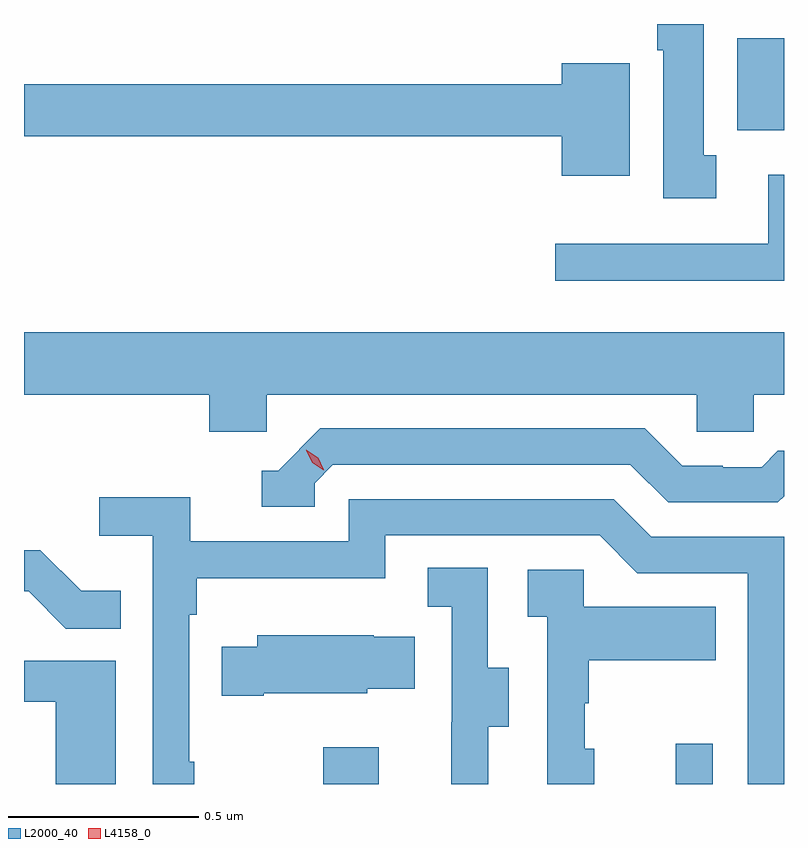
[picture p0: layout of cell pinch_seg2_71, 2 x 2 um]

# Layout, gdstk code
import gdstk
lib = gdstk.Library(unit=1e-6, precision=1e-09)
def R(c, l, rs):  # rectangles x0, y0, x1, y1
    for r in rs: c.add(gdstk.rectangle(r[:2], r[2:], *l))
def P(c, l, *ps):  # polygons
    for p in ps: c.add(gdstk.Polygon(p, *l))
L2000_40 = (2000, 40)
L4158_0 = (4158, 0)

pinch_seg2_71 = lib.new_cell('pinch_seg2_71')
R(pinch_seg2_71, L2000_40, [(1032.736,649.275,1032.883,649.372), (1033.664,649.275,1033.761,649.381), (1033.826,650.996,1033.949,651.238)])
P(pinch_seg2_71, L2000_40, [(1033.771,650.93),(1033.738,650.93),(1033.738,651.275),(1033.616,651.275),(1033.616,651.206),(1033.631,651.206),(1033.631,650.817),(1033.771,650.817)],
  [(1033.543,651.172),(1033.364,651.172),(1033.364,651.116),(1031.949,651.116),(1031.949,650.98),(1033.364,650.98),(1033.364,650.876),(1033.543,650.876)],
  [(1033.949,650.878),(1033.907,650.878),(1033.907,650.697),(1033.347,650.697),(1033.347,650.6),(1033.949,650.6)],
  [(1031.949,650.3),(1032.437,650.3),(1032.437,650.202),(1032.588,650.202),(1032.588,650.3),(1033.719,650.3),(1033.719,650.202),(1033.869,650.202),(1033.869,650.3),(1033.949,650.3),(1033.949,650.464),(1031.949,650.464)],
  [(1032.714,650.067),(1032.762,650.115),(1033.545,650.115),(1033.644,650.016),(1033.933,650.016),(1033.949,650.032),(1033.949,650.152),(1033.933,650.152),(1033.891,650.109),(1033.788,650.109),(1033.788,650.112),(1033.681,650.112),(1033.582,650.211),(1032.729,650.211),(1032.618,650.1),(1032.575,650.1),(1032.575,650.004),(1032.714,650.004)],
  [(1032.397,649.333),(1032.384,649.333),(1032.384,649.721),(1032.404,649.721),(1032.404,649.817),(1032.9,649.817),(1032.9,649.929),(1033.464,649.929),(1033.563,649.83),(1033.854,649.83),(1033.854,649.275),(1033.949,649.275),(1033.949,649.926),(1033.6,649.926),(1033.501,650.025),(1032.804,650.025),(1032.804,649.914),(1032.386,649.914),(1032.386,650.03),(1032.147,650.03),(1032.147,649.928),(1032.288,649.928),(1032.288,649.275),(1032.397,649.275)],
  [(1032.203,649.783),(1032.099,649.783),(1031.992,649.89),(1031.949,649.89),(1031.949,649.782),(1031.961,649.782),(1032.059,649.684),(1032.203,649.684)],
  [(1033.171,649.426),(1033.225,649.426),(1033.225,649.581),(1033.17,649.581),(1033.17,649.844),(1033.011,649.844),(1033.011,649.741),(1033.074,649.741),(1033.074,649.437),(1033.073,649.437),(1033.073,649.275),(1033.171,649.275)],
  [(1033.45,649.368),(1033.425,649.368),(1033.425,649.487),(1033.435,649.487),(1033.435,649.601),(1033.769,649.601),(1033.769,649.741),(1033.422,649.741),(1033.422,649.839),(1033.275,649.839),(1033.275,649.715),(1033.326,649.715),(1033.326,649.275),(1033.45,649.275)],
  [(1032.58,649.514),(1032.852,649.514),(1032.852,649.526),(1032.977,649.526),(1032.977,649.663),(1032.869,649.663),(1032.869,649.666),(1032.563,649.666),(1032.563,649.636),(1032.469,649.636),(1032.469,649.507),(1032.58,649.507)],
  [(1032.19,649.599),(1031.949,649.599),(1031.949,649.491),(1032.032,649.491),(1032.032,649.275),(1032.19,649.275)])
P(pinch_seg2_71, L4158_0, [(1032.738,650.101),(1032.708,650.121),(1032.692,650.153),(1032.692,650.154),(1032.692,650.154),(1032.723,650.134),(1032.738,650.102),(1032.738,650.101)])

lib.write_gds('pinch_seg2_71.gds')
